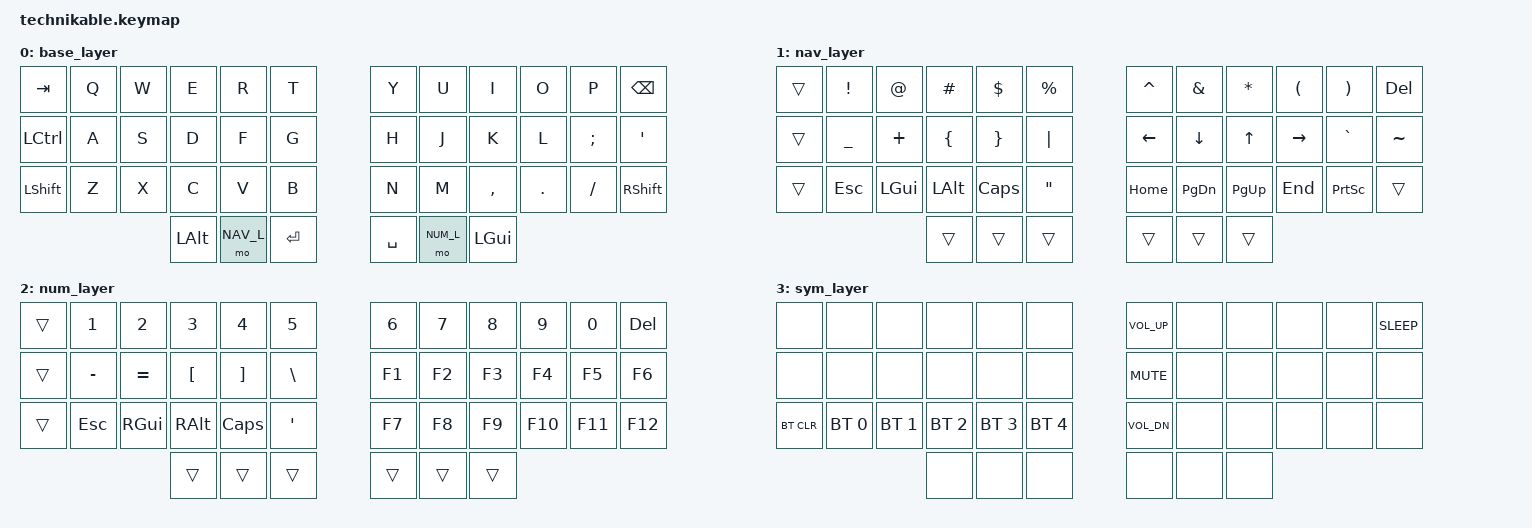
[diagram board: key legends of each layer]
/*
 * Copyright (c) 2022 Pete Johanson
 *
 * SPDX-License-Identifier: MIT
 */

#include <behaviors.dtsi>
#include <dt-bindings/zmk/keys.h>
#include <dt-bindings/zmk/bt.h>
#include <dt-bindings/zmk/outputs.h>

#define BAS_L 0
#define NAV_L 1
#define NUM_L 2
#define SYM_L 3

// Using layer taps on thumbs, having quick tap as well helps w/ repeating space/backspace
// &lt { quick_tap_ms = <200>; };

/ {
    chosen {
        zmk,matrix_transform = &dual_2u_transform;
    };

    conditional_layers {
        compatible = "zmk,conditional-layers";
        tri_layer {
	          if-layers = <NAV_L NUM_L>;
	          then-layer = <SYM_L>;
	      };
    };

    keymap {
        compatible = "zmk,keymap";

        base_layer {
            bindings = <
 &kp TAB    &kp Q      &kp W      &kp E      &kp R      &kp T          &kp Y      &kp U      &kp I       &kp O      &kp P      &kp BKSP
 &kp LCTRL  &kp A      &kp S      &kp D      &kp F      &kp G          &kp H      &kp J      &kp K       &kp L      &kp SEMI   &kp QUOT
 &kp LSHFT  &kp Z      &kp X      &kp C      &kp V      &kp B          &kp N      &kp M      &kp COMMA   &kp DOT    &kp FSLH   &kp RSHFT
                       &kp LALT   &mo NAV_L       &kp RETURN                &kp SPACE        &mo NUM_L   &kp LGUI
            >;
        };

        nav_layer {
            bindings = <
&trans      &kp EXCL   &kp AT     &kp HASH   &kp DLLR   &kp PRCNT      &kp CARET  &kp AMPS   &kp ASTRK   &kp LPAR   &kp RPAR   &kp DEL
&trans      &kp UNDER  &kp PLUS   &kp LBRC   &kp RBRC   &kp PIPE       &kp LEFT   &kp DOWN   &kp UP      &kp RIGHT  &kp GRAVE  &kp TILDE
&trans      &kp ESC    &kp LGUI   &kp LALT   &kp CLCK   &kp DQT        &kp HOME   &kp PG_DN  &kp PG_UP   &kp END    &kp PSCRN  &trans
                       &trans     &trans          &trans                    &trans           &trans      &trans
            >;
        };

        num_layer {
            bindings = <
&trans      &kp N1    &kp N2      &kp N3     &kp N4     &kp N5         &kp N6     &kp N7     &kp N8      &kp N9     &kp N0     &kp DEL
&trans      &kp MINUS &kp EQUAL   &kp LBKT   &kp RBKT   &kp BSLH       &kp F1     &kp F2     &kp F3      &kp F4     &kp F5     &kp F6
&trans      &kp ESC   &kp RGUI    &kp RALT   &kp CLCK   &kp SQT        &kp F7     &kp F8     &kp F9      &kp F10    &kp F11    &kp F12
                      &trans      &trans          &trans                    &trans           &trans      &trans
            >;
        };

        sym_layer {
            bindings = <
&none       &none        &none        &none        &none        &none          &kp K_VOL_UP  &none       &none      &none      &none      &kp K_SLEEP
&none       &none        &none        &none        &none        &none          &kp K_MUTE    &none       &none      &none      &none      &none
&bt BT_CLR  &bt BT_SEL 0 &bt BT_SEL 1 &bt BT_SEL 2 &bt BT_SEL 3 &bt BT_SEL 4   &kp K_VOL_DN  &none       &none      &none      &none      &none
                         &none        &none             &none                       &none                &none      &none
            >;
        };

    };
};

